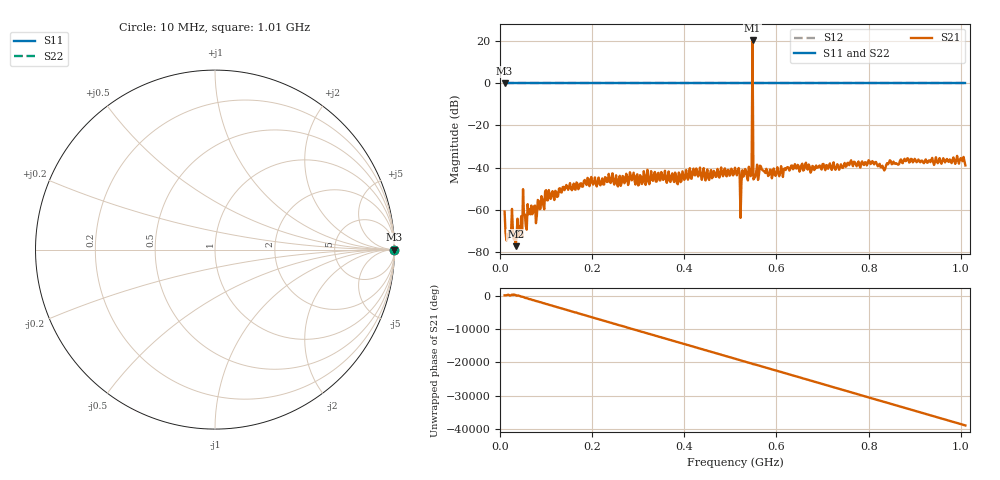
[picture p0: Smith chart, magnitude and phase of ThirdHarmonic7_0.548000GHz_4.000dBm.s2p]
! 8/17/2025 4:36:07 PM
! C:\ANRITSUVNA\TEMP\TEMP.S2P
! CHANNEL.1
! TR.MEASUREMENT
! RAW.DATA
! RF.CORRECTION.OFF
! AVERAGING.OFF
! IF.BANDWIDTH: 5KHZ
! SWEEPTYPE:  FREQ.SWEEP(Linear)
! Reference Plane Port Info
! PORT:  PORT1  PORT2
! DISTANCE:  0  m  0  m
! TIME:  0  s  0  s
! PHASE.OFFSET:  0  deg.  0  deg.
! LOSS:  0  dB  0  dB
! REF.LOSS:  0  dB  0  dB
! REF.FREQ:  0  Hz  0  Hz
! Power Info
! POWER:  -20  dBm  -20  dBm
! EFF.POWER:  -20  dBm  -20  dBm
! SOURCE.ATTEN:  0  dB  0  dB
! TEST.ATTEN:  0  dB  0  dB
# GHZ S RI R 50.0
! FREQ.GHZ  S11RE  S11IM  S21RE  S21IM  S12RE  S12IM  S22RE  S22IM
!; PortSelection: Port_12
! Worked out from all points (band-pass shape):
!   501 points, 10 MHz to 1.01 GHz, reference 50 ohm
!   highest |S21| = 20.40 dB at 548 MHz (marker M1); lowest = -77.4 dB at 34 MHz (marker M2)
!   |S21| within 3 dB of the highest: 547.9057 MHz to 548.0908 MHz (185.1 kHz wide, 0.0338 % of centre)
!   lowest |S11| = 0.0 dB at 10 MHz (marker M3)
!   |S11| at or under -10 dB: nowhere
!   |S22| runs from 0.0 to 0.0 dB; largest |S21 - S12| = 9.9
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0.01  1 0  -0.000875 0.000216  1 0  1 0
0.016  1 0  6.85e-05 -0.000245  1 0  1 0
0.024  1 0  -0.000219 -0.000192  1 0  1 0
0.034  1 0  -1.97e-05 -0.000134  1 0  1 0
0.044  1 0  4.11e-05 -0.000307  1 0  1 0
0.05  1 0  0.00196 0.00237  1 0  1 0
0.076  1 0  0.00116 -0.000449  1 0  1 0
0.102  1 0  0.00137 0.000944  1 0  1 0
0.178  1 0  -0.00341 -0.000809  1 0  1 0
0.344  1 0  0.00714 -0.00228  1 0  1 0
0.51  1 0  -0.00979 -0.0015  1 0  1 0
0.526  1 0  -0.00457 -0.00731  1 0  1 0
0.53  1 0  -0.00205 0.00666  1 0  1 0
0.542  1 0  0.00683 -0.00518  1 0  1 0
0.544  1 0  -0.00057 -0.0062  1 0  1 0
0.548  1 0  6.439 8.262  1 0  1 0
0.552  1 0  0.00252 -0.00503  1 0  1 0
0.554  1 0  -0.00354 -0.00491  1 0  1 0
0.678  1 0  0.00488 -0.00976  1 0  1 0
0.832  1 0  -0.0084 -0.00445  1 0  1 0
0.844  1 0  -0.00508 0.0118  1 0  1 0
1.01  1 0  -0.00195 -0.0111  1 0  1 0
